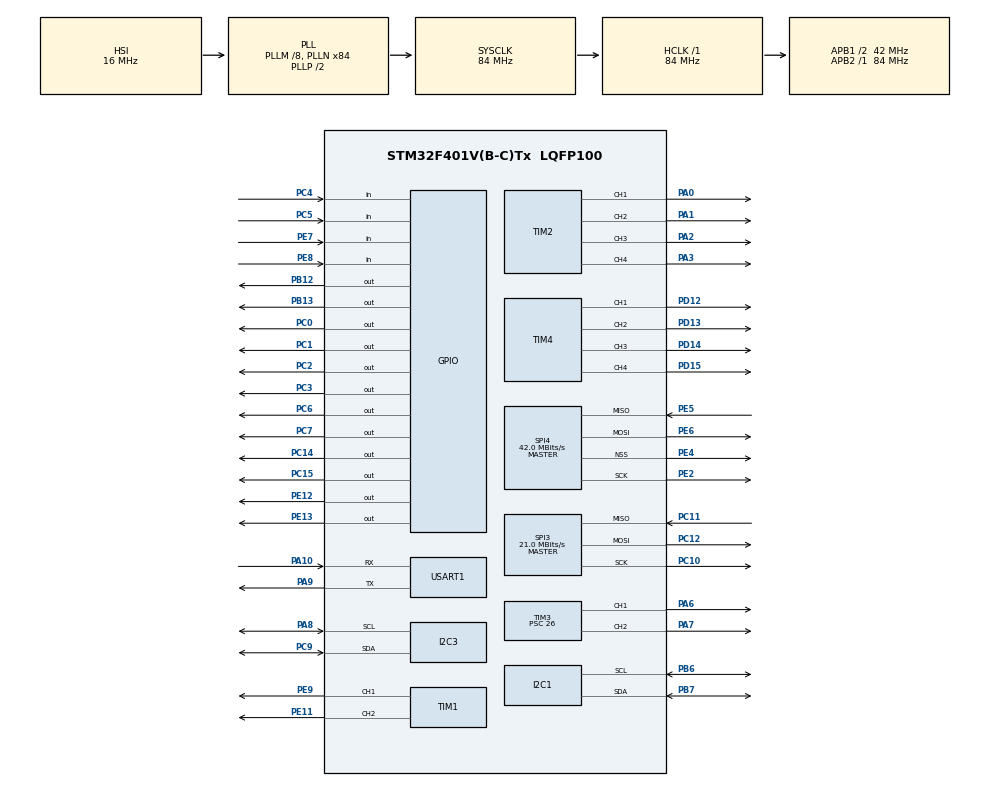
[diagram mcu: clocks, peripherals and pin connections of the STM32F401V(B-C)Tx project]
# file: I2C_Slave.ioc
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I2C3.OwnAddress=10
Mcu.Family=STM32F4
Mcu.Name=STM32F401V(B-C)Tx
Mcu.Package=LQFP100
NVIC.PriorityGroup=NVIC_PRIORITYGROUP_4
PA0-WKUP.Signal=S_TIM2_CH1_ETR
PA1.Signal=S_TIM2_CH2
PA10.Mode=Asynchronous
PA10.Signal=USART1_RX
PA13.Mode=JTAG_4_pins
PA13.Signal=SYS_JTMS-SWDIO
PA14.Mode=JTAG_4_pins
PA14.Signal=SYS_JTCK-SWCLK
PA15.Mode=JTAG_4_pins
PA15.Signal=SYS_JTDI
PA2.Signal=S_TIM2_CH3
PA3.Signal=S_TIM2_CH4
PA6.Signal=S_TIM3_CH1
PA7.Signal=S_TIM3_CH2
PA8.Mode=I2C
PA8.Signal=I2C3_SCL
PA9.Mode=Asynchronous
PA9.Signal=USART1_TX
PB12.Signal=GPIO_Output
PB13.Signal=GPIO_Output
PB3.Mode=JTAG_4_pins
PB3.Signal=SYS_JTDO-SWO
PB6.Mode=I2C
PB6.Signal=I2C1_SCL
PB7.Mode=I2C
PB7.Signal=I2C1_SDA
PC0.Signal=GPIO_Output
PC1.Signal=GPIO_Output
PC10.Mode=Full_Duplex_Master
PC10.Signal=SPI3_SCK
PC11.Mode=Full_Duplex_Master
PC11.Signal=SPI3_MISO
PC12.Mode=Full_Duplex_Master
PC12.Signal=SPI3_MOSI
PC14-OSC32_IN.Signal=GPIO_Output
PC15-OSC32_OUT.Signal=GPIO_Output
PC2.Signal=GPIO_Output
PC3.Signal=GPIO_Output
PC4.Signal=GPIO_Input
PC5.Signal=GPIO_Input
PC6.Signal=GPIO_Output
PC7.Signal=GPIO_Output
PC9.Mode=I2C
PC9.Signal=I2C3_SDA
PD12.Signal=S_TIM4_CH1
PD13.Signal=S_TIM4_CH2
PD14.Signal=S_TIM4_CH3
PD15.Signal=S_TIM4_CH4
PE11.Signal=S_TIM1_CH2
PE12.Signal=GPIO_Output
PE13.Signal=GPIO_Output
PE2.Mode=Full_Duplex_Master
PE2.Signal=SPI4_SCK
PE4.Mode=NSS_Signal_Hard_Output
PE4.Signal=SPI4_NSS
PE5.Mode=Full_Duplex_Master
PE5.Signal=SPI4_MISO
PE6.Mode=Full_Duplex_Master
PE6.Signal=SPI4_MOSI
PE7.Signal=GPIO_Input
PE8.Signal=GPIO_Input
PE9.Signal=S_TIM1_CH1
PH0\ -\ OSC_IN.Mode=HSE-External-Oscillator
PH0\ -\ OSC_IN.Signal=RCC_OSC_IN
PH1\ -\ OSC_OUT.Mode=HSE-External-Oscillator
PH1\ -\ OSC_OUT.Signal=RCC_OSC_OUT
ProjectManager.HeapSize=0x200
ProjectManager.StackSize=0x400
ProjectManager.TargetToolchain=MDK-ARM V5
RCC.48MHZClocksFreq_Value=42000000
RCC.AHBFreq_Value=84000000
RCC.APB1CLKDivider=RCC_HCLK_DIV2
RCC.APB1Freq_Value=42000000
RCC.APB1TimFreq_Value=84000000
RCC.APB2Freq_Value=84000000
RCC.APB2TimFreq_Value=84000000
RCC.CortexFreq_Value=84000000
RCC.HCLKFreq_Value=84000000
RCC.HSE_VALUE=25000000
RCC.HSI_VALUE=16000000
RCC.LSE_VALUE=32768
RCC.PLLM=8
RCC.PLLN=84
RCC.SYSCLKFreq_VALUE=84000000
RCC.SYSCLKSource=RCC_SYSCLKSOURCE_PLLCLK
RCC.VCOOutputFreq_Value=168000000
SH.S_TIM1_CH1.0=TIM1_CH1,PWM Generation1 CH1
SH.S_TIM1_CH2.0=TIM1_CH2,PWM Generation2 CH2
SH.S_TIM2_CH1_ETR.0=TIM2_CH1,PWM Generation1 CH1
SH.S_TIM2_CH2.0=TIM2_CH2,PWM Generation2 CH2
SH.S_TIM2_CH3.0=TIM2_CH3,PWM Generation3 CH3
SH.S_TIM2_CH4.0=TIM2_CH4,PWM Generation4 CH4
SH.S_TIM3_CH1.0=TIM3_CH1,PWM Generation1 CH1
SH.S_TIM3_CH2.0=TIM3_CH2,PWM Generation2 CH2
SH.S_TIM4_CH1.0=TIM4_CH1,PWM Generation1 CH1
SH.S_TIM4_CH2.0=TIM4_CH2,PWM Generation2 CH2
SH.S_TIM4_CH3.0=TIM4_CH3,PWM Generation3 CH3
SH.S_TIM4_CH4.0=TIM4_CH4,PWM Generation4 CH4
SPI3.CalculateBaudRate=21.0 MBits/s
SPI3.Direction=SPI_DIRECTION_2LINES
SPI3.Mode=SPI_MODE_MASTER
SPI3.VirtualType=VM_MASTER
SPI4.CalculateBaudRate=42.0 MBits/s
SPI4.Direction=SPI_DIRECTION_2LINES
SPI4.Mode=SPI_MODE_MASTER
SPI4.VirtualNSS=VM_NSSHARD
SPI4.VirtualType=VM_MASTER
TIM1.Channel-PWM\ Generation1\ CH1=TIM_CHANNEL_1
TIM1.Channel-PWM\ Generation2\ CH2=TIM_CHANNEL_2
TIM2.Channel-PWM\ Generation1\ CH1=TIM_CHANNEL_1
TIM2.Channel-PWM\ Generation2\ CH2=TIM_CHANNEL_2
TIM2.Channel-PWM\ Generation3\ CH3=TIM_CHANNEL_3
TIM2.Channel-PWM\ Generation4\ CH4=TIM_CHANNEL_4
TIM3.Channel-PWM\ Generation1\ CH1=TIM_CHANNEL_1
TIM3.Channel-PWM\ Generation2\ CH2=TIM_CHANNEL_2
TIM3.Prescaler=26
TIM4.Channel-PWM\ Generation1\ CH1=TIM_CHANNEL_1
TIM4.Channel-PWM\ Generation2\ CH2=TIM_CHANNEL_2
TIM4.Channel-PWM\ Generation3\ CH3=TIM_CHANNEL_3
TIM4.Channel-PWM\ Generation4\ CH4=TIM_CHANNEL_4
USART1.VirtualMode=VM_ASYNC
board=custom

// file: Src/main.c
/* USER CODE BEGIN Header */
/**
  ******************************************************************************
  * @file           : main.c
  * @brief          : Main program body
  ******************************************************************************
  ** This notice applies to any and all portions of this file
  * that are not between comment pairs USER CODE BEGIN and
  * USER CODE END. Other portions of this file, whether
  * inserted by the user or by software development tools
  * are owned by their respective copyright owners.
  *
  * COPYRIGHT(c) 2019 STMicroelectronics
  *
  * Redistribution and use in source and binary forms, with or without modification,
  * are permitted provided that the following conditions are met:
  *   1. Redistributions of source code must retain the above copyright notice,
  *      this list of conditions and the following disclaimer.
  *   2. Redistributions in binary form must reproduce the above copyright notice,
  *      this list of conditions and the following disclaimer in the documentation
  *      and/or other materials provided with the distribution.
  *   3. Neither the name of STMicroelectronics nor the names of its contributors
  *      may be used to endorse or promote products derived from this software
  *      without specific prior written permission.
  *
  * THIS SOFTWARE IS PROVIDED BY THE COPYRIGHT HOLDERS AND CONTRIBUTORS "AS IS"
  * AND ANY EXPRESS OR IMPLIED WARRANTIES, INCLUDING, BUT NOT LIMITED TO, THE
  * IMPLIED WARRANTIES OF MERCHANTABILITY AND FITNESS FOR A PARTICULAR PURPOSE ARE
  * DISCLAIMED. IN NO EVENT SHALL THE COPYRIGHT HOLDER OR CONTRIBUTORS BE LIABLE
  * FOR ANY DIRECT, INDIRECT, INCIDENTAL, SPECIAL, EXEMPLARY, OR CONSEQUENTIAL
  * DAMAGES (INCLUDING, BUT NOT LIMITED TO, PROCUREMENT OF SUBSTITUTE GOODS OR
  * SERVICES; LOSS OF USE, DATA, OR PROFITS; OR BUSINESS INTERRUPTION) HOWEVER
  * CAUSED AND ON ANY THEORY OF LIABILITY, WHETHER IN CONTRACT, STRICT LIABILITY,
  * OR TORT (INCLUDING NEGLIGENCE OR OTHERWISE) ARISING IN ANY WAY OUT OF THE USE
  * OF THIS SOFTWARE, EVEN IF ADVISED OF THE POSSIBILITY OF SUCH DAMAGE.
  *
  ******************************************************************************
  */
/* USER CODE END Header */

#include "main.h"

/* USER CODE BEGIN PD */
#define ITM_Port8(n)    (*((volatile unsigned char *)(0xE0000000+4*n)))
#define ITM_Port16(n)   (*((volatile unsigned short*)(0xE0000000+4*n)))
#define ITM_Port32(n)   (*((volatile unsigned long *)(0xE0000000+4*n)))

#define DEMCR           (*((volatile unsigned long *)(0xE000EDFC)))
#define TRCENA          0x01000000

/* USER CODE END PD */

I2C_HandleTypeDef hi2c1;
I2C_HandleTypeDef hi2c3;

SPI_HandleTypeDef hspi3;
SPI_HandleTypeDef hspi4;

TIM_HandleTypeDef htim1;
TIM_HandleTypeDef htim2;
TIM_HandleTypeDef htim3;
TIM_HandleTypeDef htim4;

UART_HandleTypeDef huart1;

uint8_t i2cBuff[5] = {0,0,0,0,0};

uint8_t lMotorDir = 0;
uint8_t lMotorSpeed = 0;
uint8_t rMotorDir = 0;
uint8_t rMotorSpeed = 0;

uint8_t lVal = 150;
uint8_t rVal = 150;

uint16_t pwm_value = 0;

uint16_t value = 0;

volatile uint32_t tick = 0;
uint32_t tickOld = 0;

uint32_t eventCount = 0;
uint32_t prevEventCount = 0;

void SystemClock_Config(void);
static void MX_GPIO_Init(void);
static void MX_I2C1_Init(void);
static void MX_I2C3_Init(void);
static void MX_SPI3_Init(void);
static void MX_SPI4_Init(void);
static void MX_TIM1_Init(void);
static void MX_TIM2_Init(void);
static void MX_TIM3_Init(void);
static void MX_TIM4_Init(void);
static void MX_USART1_UART_Init(void);

static void setPWM(TIM_HandleTypeDef, uint32_t, uint16_t);

static void stopMovement(void);

int main(void)
{

  /* MCU Configuration--------------------------------------------------------*/

  /* Reset of all peripherals, Initializes the Flash interface and the Systick. */
  HAL_Init();

  /* Configure the system clock */
  SystemClock_Config();

  /* Initialize all configured peripherals */
  MX_GPIO_Init();
  MX_I2C1_Init();
  MX_I2C3_Init();
  MX_SPI3_Init();
  MX_SPI4_Init();
  MX_TIM1_Init();
  MX_TIM2_Init();
  MX_TIM3_Init();
  MX_TIM4_Init();
  MX_USART1_UART_Init();
  /* USER CODE BEGIN 2 */

	/*//--------------- Calibration ---------------
	setPWM(htim3, TIM_CHANNEL_2, 200);
	HAL_Delay(50);

	setPWM(htim3, TIM_CHANNEL_2, 100);
	HAL_Delay(50);

	setPWM(htim3, TIM_CHANNEL_2, 200);
	HAL_Delay(50);

	setPWM(htim3, TIM_CHANNEL_2, 100);
	HAL_Delay(50);

	setPWM(htim3, TIM_CHANNEL_2, 200);
	HAL_Delay(50);

	setPWM(htim3, TIM_CHANNEL_2, 100);
	HAL_Delay(50);

	setPWM(htim3, TIM_CHANNEL_2, 150);
	HAL_Delay(50);

	HAL_TIM_PWM_Stop(&htim3, TIM_CHANNEL_2);

	//---------------End Calibration---------------*/

  /* USER CODE END 2 */

  /* Infinite loop */
  while (1)
  {

    /* USER CODE BEGIN 3 */
		/*if (__HAL_I2C_GET_IT_SOURCE(&hi2c3, I2C_FLAG_RXNE) == SET)
			{
				tick = HAL_GetTick();
			}

		if (__HAL_I2C_ENABLE_IT(&hi2c3, I2C_IT_EVT) == SET)
			{
				tick = HAL_GetTick();
			}*/

		HAL_I2C_Slave_Receive(&hi2c3, i2cBuff, sizeof(i2cBuff),5);

		prevEventCount = eventCount;
		eventCount = get_trans();

		if (eventCount != prevEventCount)
			{
				tick = HAL_GetTick();
			}

		//just deciphering bytes and assigning to variables
		if (i2cBuff[0] == 0x24)
			{
				lMotorDir 	= i2cBuff[1];
				lMotorSpeed = i2cBuff[2];
				rMotorDir 	= i2cBuff[3];
				rMotorSpeed = i2cBuff[4];
			}

		else
			{
				lMotorDir = 0;
				lMotorSpeed  = 0;
				rMotorDir = 0;
				rMotorSpeed = 0;
			}

		//left side motor speed assignment
		if (lMotorDir == 0x4C)
			{
				lVal = 150 + (lMotorSpeed/2);
			}

		else if (lMotorDir == 0x6C)
			{
				lVal = 150 - (lMotorSpeed/2);
			}

		else
			{
				lVal = 150;
			}

		//right side motor speed assignment
		if (rMotorDir == 0x52)
			{
				rVal = 150 + (rMotorSpeed/2);
			}

		else if (rMotorDir == 0x72)
			{
				rVal = 150 - (rMotorSpeed/2);
			}

		else
			{
				rVal = 150;
			}

		setPWM(htim3, TIM_CHANNEL_1, lVal);
		setPWM(htim3, TIM_CHANNEL_2, rVal);

		tickOld = HAL_GetTick();

		if (HAL_GetTick() - tick >= 1000)
        {
          stopMovement();
          tick = HAL_GetTick();
        }

		//user_pwm_setvalue(150);

  }
  /* USER CODE END 3 */
}

void SystemClock_Config(void)
{
  RCC_OscInitTypeDef RCC_OscInitStruct = {0};
  RCC_ClkInitTypeDef RCC_ClkInitStruct = {0};

  /**Configure the main internal regulator output voltage
  */
  __HAL_RCC_PWR_CLK_ENABLE();
  __HAL_PWR_VOLTAGESCALING_CONFIG(PWR_REGULATOR_VOLTAGE_SCALE2);
  /**Initializes the CPU, AHB and APB busses clocks
  */
  RCC_OscInitStruct.OscillatorType = RCC_OSCILLATORTYPE_HSI;
  RCC_OscInitStruct.HSIState = RCC_HSI_ON;
  RCC_OscInitStruct.HSICalibrationValue = RCC_HSICALIBRATION_DEFAULT;
  RCC_OscInitStruct.PLL.PLLState = RCC_PLL_ON;
  RCC_OscInitStruct.PLL.PLLSource = RCC_PLLSOURCE_HSI;
  RCC_OscInitStruct.PLL.PLLM = 8;
  RCC_OscInitStruct.PLL.PLLN = 84;
  RCC_OscInitStruct.PLL.PLLP = RCC_PLLP_DIV2;
  RCC_OscInitStruct.PLL.PLLQ = 4;
  if (HAL_RCC_OscConfig(&RCC_OscInitStruct) != HAL_OK)
  {
    Error_Handler();
  }
  /**Initializes the CPU, AHB and APB busses clocks
  */
  RCC_ClkInitStruct.ClockType = RCC_CLOCKTYPE_HCLK|RCC_CLOCKTYPE_SYSCLK
                              |RCC_CLOCKTYPE_PCLK1|RCC_CLOCKTYPE_PCLK2;
  RCC_ClkInitStruct.SYSCLKSource = RCC_SYSCLKSOURCE_PLLCLK;
  RCC_ClkInitStruct.AHBCLKDivider = RCC_SYSCLK_DIV1;
  RCC_ClkInitStruct.APB1CLKDivider = RCC_HCLK_DIV2;
  RCC_ClkInitStruct.APB2CLKDivider = RCC_HCLK_DIV1;

  if (HAL_RCC_ClockConfig(&RCC_ClkInitStruct, FLASH_LATENCY_2) != HAL_OK)
  {
    Error_Handler();
  }
}

static void MX_I2C1_Init(void)
{

  hi2c1.Instance = I2C1;
  hi2c1.Init.ClockSpeed = 100000;
  hi2c1.Init.DutyCycle = I2C_DUTYCYCLE_2;
  hi2c1.Init.OwnAddress1 = 0;
  hi2c1.Init.AddressingMode = I2C_ADDRESSINGMODE_7BIT;
  hi2c1.Init.DualAddressMode = I2C_DUALADDRESS_DISABLE;
  hi2c1.Init.OwnAddress2 = 0;
  hi2c1.Init.GeneralCallMode = I2C_GENERALCALL_DISABLE;
  hi2c1.Init.NoStretchMode = I2C_NOSTRETCH_DISABLE;
  if (HAL_I2C_Init(&hi2c1) != HAL_OK)
  {
    Error_Handler();
  }

}

static void MX_I2C3_Init(void)
{

  hi2c3.Instance = I2C3;
  hi2c3.Init.ClockSpeed = 100000;
  hi2c3.Init.DutyCycle = I2C_DUTYCYCLE_2;
  hi2c3.Init.OwnAddress1 = 20;															//slave addr
  hi2c3.Init.AddressingMode = I2C_ADDRESSINGMODE_7BIT;
  hi2c3.Init.DualAddressMode = I2C_DUALADDRESS_DISABLE;
  hi2c3.Init.OwnAddress2 = 0;
  hi2c3.Init.GeneralCallMode = I2C_GENERALCALL_DISABLE;
  hi2c3.Init.NoStretchMode = I2C_NOSTRETCH_DISABLE;
  if (HAL_I2C_Init(&hi2c3) != HAL_OK)
  {
    Error_Handler();
  }

}

static void MX_SPI3_Init(void)
{

  /* SPI3 parameter configuration*/
  hspi3.Instance = SPI3;
  hspi3.Init.Mode = SPI_MODE_MASTER;
  hspi3.Init.Direction = SPI_DIRECTION_2LINES;
  hspi3.Init.DataSize = SPI_DATASIZE_8BIT;
  hspi3.Init.CLKPolarity = SPI_POLARITY_LOW;
  hspi3.Init.CLKPhase = SPI_PHASE_1EDGE;
  hspi3.Init.NSS = SPI_NSS_SOFT;
  hspi3.Init.BaudRatePrescaler = SPI_BAUDRATEPRESCALER_2;
  hspi3.Init.FirstBit = SPI_FIRSTBIT_MSB;
  hspi3.Init.TIMode = SPI_TIMODE_DISABLE;
  hspi3.Init.CRCCalculation = SPI_CRCCALCULATION_DISABLE;
  hspi3.Init.CRCPolynomial = 10;
  if (HAL_SPI_Init(&hspi3) != HAL_OK)
  {
    Error_Handler();
  }

}

static void MX_SPI4_Init(void)
{

  /* SPI4 parameter configuration*/
  hspi4.Instance = SPI4;
  hspi4.Init.Mode = SPI_MODE_MASTER;
  hspi4.Init.Direction = SPI_DIRECTION_2LINES;
  hspi4.Init.DataSize = SPI_DATASIZE_8BIT;
  hspi4.Init.CLKPolarity = SPI_POLARITY_LOW;
  hspi4.Init.CLKPhase = SPI_PHASE_1EDGE;
  hspi4.Init.NSS = SPI_NSS_HARD_OUTPUT;
  hspi4.Init.BaudRatePrescaler = SPI_BAUDRATEPRESCALER_2;
  hspi4.Init.FirstBit = SPI_FIRSTBIT_MSB;
  hspi4.Init.TIMode = SPI_TIMODE_DISABLE;
  hspi4.Init.CRCCalculation = SPI_CRCCALCULATION_DISABLE;
  hspi4.Init.CRCPolynomial = 10;
  if (HAL_SPI_Init(&hspi4) != HAL_OK)
  {
    Error_Handler();
  }

}

static void MX_TIM1_Init(void)
{

  TIM_MasterConfigTypeDef sMasterConfig = {0};
  TIM_OC_InitTypeDef sConfigOC = {0};
  TIM_BreakDeadTimeConfigTypeDef sBreakDeadTimeConfig = {0};

  htim1.Instance = TIM1;
  htim1.Init.Prescaler = 0;
  htim1.Init.CounterMode = TIM_COUNTERMODE_UP;
  htim1.Init.Period = 0;
  htim1.Init.ClockDivision = TIM_CLOCKDIVISION_DIV1;
  htim1.Init.RepetitionCounter = 0;
  if (HAL_TIM_PWM_Init(&htim1) != HAL_OK)
  {
    Error_Handler();
  }
  sMasterConfig.MasterOutputTrigger = TIM_TRGO_RESET;
  sMasterConfig.MasterSlaveMode = TIM_MASTERSLAVEMODE_DISABLE;
  if (HAL_TIMEx_MasterConfigSynchronization(&htim1, &sMasterConfig) != HAL_OK)
  {
    Error_Handler();
  }
  sConfigOC.OCMode = TIM_OCMODE_PWM1;
  sConfigOC.Pulse = 0;
  sConfigOC.OCPolarity = TIM_OCPOLARITY_HIGH;
  sConfigOC.OCNPolarity = TIM_OCNPOLARITY_HIGH;
  sConfigOC.OCFastMode = TIM_OCFAST_DISABLE;
  sConfigOC.OCIdleState = TIM_OCIDLESTATE_RESET;
  sConfigOC.OCNIdleState = TIM_OCNIDLESTATE_RESET;
  if (HAL_TIM_PWM_ConfigChannel(&htim1, &sConfigOC, TIM_CHANNEL_1) != HAL_OK)
  {
    Error_Handler();
  }
  if (HAL_TIM_PWM_ConfigChannel(&htim1, &sConfigOC, TIM_CHANNEL_2) != HAL_OK)
  {
    Error_Handler();
  }
  sBreakDeadTimeConfig.OffStateRunMode = TIM_OSSR_DISABLE;
  sBreakDeadTimeConfig.OffStateIDLEMode = TIM_OSSI_DISABLE;
  sBreakDeadTimeConfig.LockLevel = TIM_LOCKLEVEL_OFF;
  sBreakDeadTimeConfig.DeadTime = 0;
  sBreakDeadTimeConfig.BreakState = TIM_BREAK_DISABLE;
  sBreakDeadTimeConfig.BreakPolarity = TIM_BREAKPOLARITY_HIGH;
  sBreakDeadTimeConfig.AutomaticOutput = TIM_AUTOMATICOUTPUT_DISABLE;
  if (HAL_TIMEx_ConfigBreakDeadTime(&htim1, &sBreakDeadTimeConfig) != HAL_OK)
  {
    Error_Handler();
  }
  HAL_TIM_MspPostInit(&htim1);

}

static void MX_TIM2_Init(void)
{

  TIM_MasterConfigTypeDef sMasterConfig = {0};
  TIM_OC_InitTypeDef sConfigOC = {0};

  htim2.Instance = TIM2;
  htim2.Init.Prescaler = 0;
  htim2.Init.CounterMode = TIM_COUNTERMODE_UP;
  htim2.Init.Period = 0;
  htim2.Init.ClockDivision = TIM_CLOCKDIVISION_DIV1;
  if (HAL_TIM_PWM_Init(&htim2) != HAL_OK)
  {
    Error_Handler();
  }
  sMasterConfig.MasterOutputTrigger = TIM_TRGO_RESET;
  sMasterConfig.MasterSlaveMode = TIM_MASTERSLAVEMODE_DISABLE;
  if (HAL_TIMEx_MasterConfigSynchronization(&htim2, &sMasterConfig) != HAL_OK)
  {
    Error_Handler();
  }
  sConfigOC.OCMode = TIM_OCMODE_PWM1;
  sConfigOC.Pulse = 0;
  sConfigOC.OCPolarity = TIM_OCPOLARITY_HIGH;
  sConfigOC.OCFastMode = TIM_OCFAST_DISABLE;
  if (HAL_TIM_PWM_ConfigChannel(&htim2, &sConfigOC, TIM_CHANNEL_1) != HAL_OK)
  {
    Error_Handler();
  }
  if (HAL_TIM_PWM_ConfigChannel(&htim2, &sConfigOC, TIM_CHANNEL_2) != HAL_OK)
  {
    Error_Handler();
  }
  if (HAL_TIM_PWM_ConfigChannel(&htim2, &sConfigOC, TIM_CHANNEL_3) != HAL_OK)
  {
    Error_Handler();
  }
  if (HAL_TIM_PWM_ConfigChannel(&htim2, &sConfigOC, TIM_CHANNEL_4) != HAL_OK)
  {
    Error_Handler();
  }
  HAL_TIM_MspPostInit(&htim2);

}

static void MX_TIM3_Init(void)
{

  TIM_MasterConfigTypeDef sMasterConfig = {0};
  TIM_OC_InitTypeDef sConfigOC = {0};

  htim3.Instance = TIM3;
  htim3.Init.Prescaler = 840-1;
  htim3.Init.CounterMode = TIM_COUNTERMODE_UP;
  htim3.Init.Period = 2000-1;
  htim3.Init.ClockDivision = TIM_CLOCKDIVISION_DIV1;
  if (HAL_TIM_PWM_Init(&htim3) != HAL_OK)
  {
    Error_Handler();
  }
  sMasterConfig.MasterOutputTrigger = TIM_TRGO_RESET;
  sMasterConfig.MasterSlaveMode = TIM_MASTERSLAVEMODE_DISABLE;
  if (HAL_TIMEx_MasterConfigSynchronization(&htim3, &sMasterConfig) != HAL_OK)
  {
    Error_Handler();
  }
  sConfigOC.OCMode = TIM_OCMODE_PWM1;
  sConfigOC.Pulse = 0;
  sConfigOC.OCPolarity = TIM_OCPOLARITY_HIGH;
  sConfigOC.OCFastMode = TIM_OCFAST_DISABLE;
  if (HAL_TIM_PWM_ConfigChannel(&htim3, &sConfigOC, TIM_CHANNEL_1) != HAL_OK)
  {
    Error_Handler();
  }
  if (HAL_TIM_PWM_ConfigChannel(&htim3, &sConfigOC, TIM_CHANNEL_2) != HAL_OK)
  {
    Error_Handler();
  }
  HAL_TIM_MspPostInit(&htim3);

}

static void MX_TIM4_Init(void)
{

  TIM_MasterConfigTypeDef sMasterConfig = {0};
  TIM_OC_InitTypeDef sConfigOC = {0};

  htim4.Instance = TIM4;
  htim4.Init.Prescaler = 0;
  htim4.Init.CounterMode = TIM_COUNTERMODE_UP;
  htim4.Init.Period = 0;
  htim4.Init.ClockDivision = TIM_CLOCKDIVISION_DIV1;
  if (HAL_TIM_PWM_Init(&htim4) != HAL_OK)
  {
    Error_Handler();
  }
  sMasterConfig.MasterOutputTrigger = TIM_TRGO_RESET;
  sMasterConfig.MasterSlaveMode = TIM_MASTERSLAVEMODE_DISABLE;
  if (HAL_TIMEx_MasterConfigSynchronization(&htim4, &sMasterConfig) != HAL_OK)
  {
    Error_Handler();
  }
  sConfigOC.OCMode = TIM_OCMODE_PWM1;
  sConfigOC.Pulse = 0;
  sConfigOC.OCPolarity = TIM_OCPOLARITY_HIGH;
  sConfigOC.OCFastMode = TIM_OCFAST_DISABLE;
  if (HAL_TIM_PWM_ConfigChannel(&htim4, &sConfigOC, TIM_CHANNEL_1) != HAL_OK)
  {
    Error_Handler();
  }
  if (HAL_TIM_PWM_ConfigChannel(&htim4, &sConfigOC, TIM_CHANNEL_2) != HAL_OK)
  {
    Error_Handler();
  }
  if (HAL_TIM_PWM_ConfigChannel(&htim4, &sConfigOC, TIM_CHANNEL_3) != HAL_OK)
  {
    Error_Handler();
  }
  if (HAL_TIM_PWM_ConfigChannel(&htim4, &sConfigOC, TIM_CHANNEL_4) != HAL_OK)
  {
    Error_Handler();
  }
  HAL_TIM_MspPostInit(&htim4);

}

static void MX_USART1_UART_Init(void)
{

  huart1.Instance = USART1;
  huart1.Init.BaudRate = 115200;
  huart1.Init.WordLength = UART_WORDLENGTH_8B;
  huart1.Init.StopBits = UART_STOPBITS_1;
  huart1.Init.Parity = UART_PARITY_NONE;
  huart1.Init.Mode = UART_MODE_TX_RX;
  huart1.Init.HwFlowCtl = UART_HWCONTROL_NONE;
  huart1.Init.OverSampling = UART_OVERSAMPLING_16;
  if (HAL_UART_Init(&huart1) != HAL_OK)
  {
    Error_Handler();
  }

}

static void MX_GPIO_Init(void)
{
  GPIO_InitTypeDef GPIO_InitStruct = {0};

  /* GPIO Ports Clock Enable */
  __HAL_RCC_GPIOE_CLK_ENABLE();
  __HAL_RCC_GPIOC_CLK_ENABLE();
  __HAL_RCC_GPIOH_CLK_ENABLE();
  __HAL_RCC_GPIOA_CLK_ENABLE();
  __HAL_RCC_GPIOB_CLK_ENABLE();
  __HAL_RCC_GPIOD_CLK_ENABLE();

  /*Configure GPIO pin Output Level */
  HAL_GPIO_WritePin(GPIOC, GPIO_PIN_14|GPIO_PIN_15|GPIO_PIN_0|GPIO_PIN_1
                          |GPIO_PIN_2|GPIO_PIN_3|GPIO_PIN_6|GPIO_PIN_7, GPIO_PIN_RESET);

  /*Configure GPIO pin Output Level */
  HAL_GPIO_WritePin(GPIOE, GPIO_PIN_12|GPIO_PIN_13, GPIO_PIN_RESET);

  /*Configure GPIO pin Output Level */
  HAL_GPIO_WritePin(GPIOB, GPIO_PIN_12|GPIO_PIN_13, GPIO_PIN_RESET);

  /*Configure GPIO pins : PC14 PC15 PC0 PC1
                           PC2 PC3 PC6 PC7 */
  GPIO_InitStruct.Pin = GPIO_PIN_14|GPIO_PIN_15|GPIO_PIN_0|GPIO_PIN_1
                          |GPIO_PIN_2|GPIO_PIN_3|GPIO_PIN_6|GPIO_PIN_7;
  GPIO_InitStruct.Mode = GPIO_MODE_OUTPUT_PP;
  GPIO_InitStruct.Pull = GPIO_NOPULL;
  GPIO_InitStruct.Speed = GPIO_SPEED_FREQ_LOW;
  HAL_GPIO_Init(GPIOC, &GPIO_InitStruct);

  /*Configure GPIO pins : PC4 PC5 */
  GPIO_InitStruct.Pin = GPIO_PIN_4|GPIO_PIN_5;
  GPIO_InitStruct.Mode = GPIO_MODE_INPUT;
  GPIO_InitStruct.Pull = GPIO_NOPULL;
  HAL_GPIO_Init(GPIOC, &GPIO_InitStruct);

  /*Configure GPIO pins : PE7 PE8 */
  GPIO_InitStruct.Pin = GPIO_PIN_7|GPIO_PIN_8;
  GPIO_InitStruct.Mode = GPIO_MODE_INPUT;
  GPIO_InitStruct.Pull = GPIO_NOPULL;
  HAL_GPIO_Init(GPIOE, &GPIO_InitStruct);

  /*Configure GPIO pins : PE12 PE13 */
  GPIO_InitStruct.Pin = GPIO_PIN_12|GPIO_PIN_13;
  GPIO_InitStruct.Mode = GPIO_MODE_OUTPUT_PP;
  GPIO_InitStruct.Pull = GPIO_NOPULL;
  GPIO_InitStruct.Speed = GPIO_SPEED_FREQ_LOW;
  HAL_GPIO_Init(GPIOE, &GPIO_InitStruct);

  /*Configure GPIO pins : PB12 PB13 */
  GPIO_InitStruct.Pin = GPIO_PIN_12|GPIO_PIN_13;
  GPIO_InitStruct.Mode = GPIO_MODE_OUTPUT_PP;
  GPIO_InitStruct.Pull = GPIO_NOPULL;
  GPIO_InitStruct.Speed = GPIO_SPEED_FREQ_LOW;
  HAL_GPIO_Init(GPIOB, &GPIO_InitStruct);

}

/* USER CODE BEGIN 4 */

void setPWM(TIM_HandleTypeDef timer, uint32_t channel, uint16_t pulse)
	{
	 HAL_TIM_PWM_Stop(&timer, channel); // stop generation of pwm
	 TIM_OC_InitTypeDef sConfigOC;
	 sConfigOC.OCMode = TIM_OCMODE_PWM1;
	 sConfigOC.Pulse = pulse; // set the pulse duration
	 sConfigOC.OCPolarity = TIM_OCPOLARITY_HIGH;
	 sConfigOC.OCFastMode = TIM_OCFAST_DISABLE;
	 HAL_TIM_PWM_ConfigChannel(&timer, &sConfigOC, channel);
	 HAL_TIM_PWM_Start(&timer, channel); // start pwm generation
	}

void stopMovement()
	{
		setPWM(htim3, TIM_CHANNEL_1, 150);
		setPWM(htim3, TIM_CHANNEL_2, 150);
		i2cBuff[0] = 0;
	}

/* USER CODE END 4 */

void Error_Handler(void)
{
}

/************************ (C) COPYRIGHT STMicroelectronics *****END OF FILE****/
